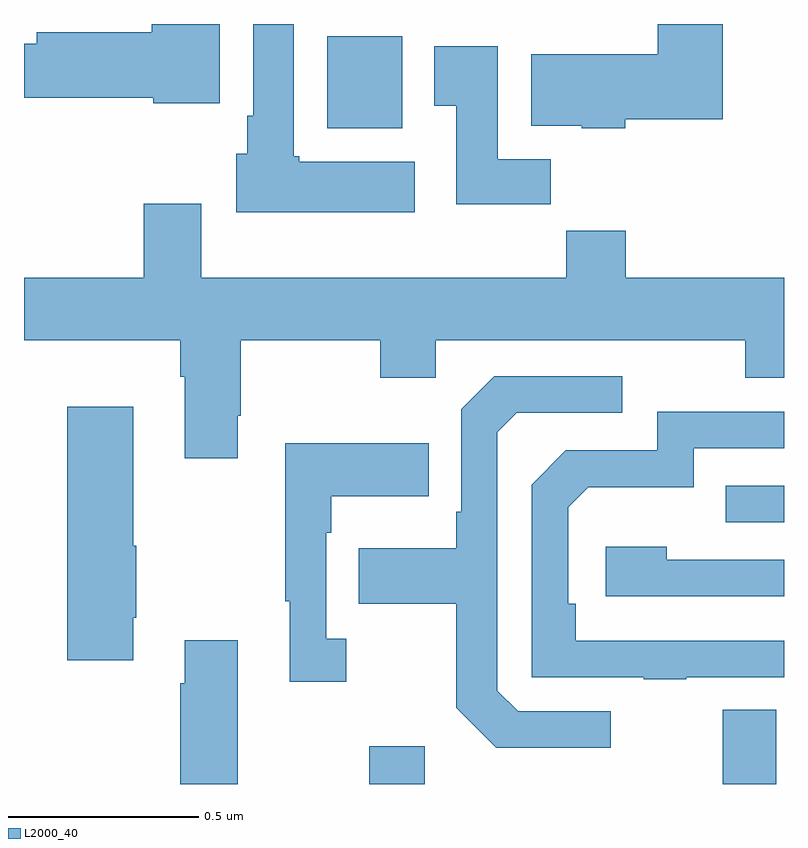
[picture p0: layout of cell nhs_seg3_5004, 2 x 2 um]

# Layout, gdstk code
import gdstk
lib = gdstk.Library(unit=1e-6, precision=1e-09)
def R(c, l, rs):  # rectangles x0, y0, x1, y1
    for r in rs: c.add(gdstk.rectangle(r[:2], r[2:], *l))
def P(c, l, *ps):  # polygons
    for p in ps: c.add(gdstk.Polygon(p, *l))
L2000_40 = (2000, 40)

nhs_seg3_5004 = lib.new_cell('nhs_seg3_5004')
R(nhs_seg3_5004, L2000_40, [(173.908,714.4,174.055,714.499), (174.839,714.4,174.979,714.595), (174.847,715.089,175,715.185), (173.798,716.126,173.995,716.368)])
P(nhs_seg3_5004, L2000_40, [(174.028,716.038),(173.724,716.038),(173.724,716.052),(173.71,716.052),(173.71,716.4),(173.603,716.4),(173.603,716.158),(173.588,716.158),(173.588,716.058),(173.558,716.058),(173.558,715.904),(174.028,715.904)],
  [(174.582,716.15),(174.839,716.15),(174.839,716.4),(174.668,716.4),(174.668,716.32),(174.335,716.32),(174.335,716.132),(174.468,716.132),(174.468,716.126),(174.582,716.126)],
  [(173.515,716.4),(173.336,716.4),(173.336,716.378),(173.033,716.378),(173.033,716.348),(173,716.348),(173,716.206),(173.34,716.206),(173.34,716.192),(173.515,716.192)],
  [(174.386,716.044),(174.247,716.044),(174.247,716.341),(174.08,716.341),(174.08,716.185),(174.137,716.185),(174.137,715.926),(174.386,715.926)],
  [(173.563,715.369),(173.571,715.369),(173.571,715.568),(173.938,715.568),(173.938,715.469),(174.084,715.469),(174.084,715.568),(174.898,715.568),(174.898,715.469),(175,715.469),(175,715.732),(174.584,715.732),(174.584,715.856),(174.427,715.856),(174.427,715.732),(173.467,715.732),(173.467,715.927),(173.315,715.927),(173.315,715.732),(173,715.732),(173,715.568),(173.411,715.568),(173.411,715.472),(173.423,715.472),(173.423,715.257),(173.563,715.257)],
  [(174.544,714.591),(174.3,714.591),(174.246,714.645),(174.246,715.326),(174.297,715.377),(174.574,715.377),(174.574,715.473),(174.237,715.473),(174.15,715.386),(174.15,715.117),(174.138,715.117),(174.138,715.021),(173.881,715.021),(173.881,714.874),(174.138,714.874),(174.138,714.601),(174.243,714.495),(174.544,714.495)],
  [(173.287,714.838),(173.295,714.838),(173.295,715.027),(173.287,715.027),(173.287,715.393),(173.114,715.393),(173.114,714.726),(173.287,714.726)],
  [(174.743,714.681),(175,714.681),(175,714.777),(174.452,714.777),(174.452,714.874),(174.432,714.874),(174.432,715.128),(174.485,715.181),(174.762,715.181),(174.762,715.284),(175,715.284),(175,715.38),(174.666,715.38),(174.666,715.278),(174.426,715.278),(174.336,715.188),(174.336,714.681),(174.631,714.681),(174.631,714.676),(174.743,714.676)],
  [(173.848,714.782),(173.796,714.782),(173.796,715.061),(173.809,715.061),(173.809,715.157),(174.065,715.157),(174.065,715.297),(173.688,715.297),(173.688,714.881),(173.699,714.881),(173.699,714.669),(173.848,714.669)],
  [(175,714.99),(174.692,714.99),(174.692,715.024),(174.531,715.024),(174.531,714.894),(175,714.894)],
  [(173.423,714.778),(173.423,714.665),(173.411,714.665),(173.411,714.4),(173.563,714.4),(173.563,714.778)])

lib.write_gds('nhs_seg3_5004.gds')
